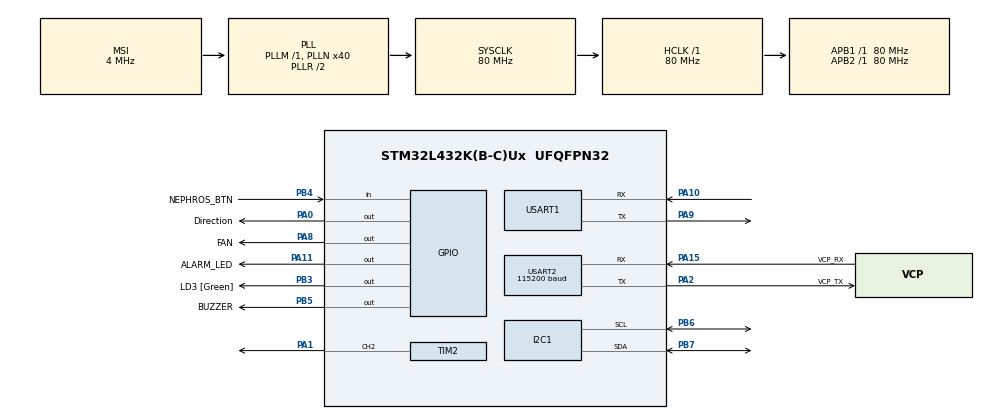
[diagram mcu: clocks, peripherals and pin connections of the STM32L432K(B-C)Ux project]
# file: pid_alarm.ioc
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Dma.Request0=USART1_RX
Dma.USART1_RX.0.Direction=DMA_PERIPH_TO_MEMORY
Dma.USART1_RX.0.Instance=DMA1_Channel5
Dma.USART1_RX.0.MemDataAlignment=DMA_MDATAALIGN_BYTE
Dma.USART1_RX.0.MemInc=DMA_MINC_ENABLE
Dma.USART1_RX.0.Mode=DMA_NORMAL
Dma.USART1_RX.0.PeriphDataAlignment=DMA_PDATAALIGN_BYTE
Dma.USART1_RX.0.PeriphInc=DMA_PINC_DISABLE
Dma.USART1_RX.0.Priority=DMA_PRIORITY_LOW
I2C1.Timing=0x10D19CE4
Mcu.Family=STM32L4
Mcu.Name=STM32L432K(B-C)Ux
Mcu.Package=UFQFPN32
NVIC.DMA1_Channel5_IRQn=true\:0\:0\:false\:false\:true\:false\:true\:true
NVIC.PriorityGroup=NVIC_PRIORITYGROUP_4
NVIC.USART1_IRQn=true\:0\:0\:false\:false\:true\:true\:true\:true
PA0.GPIO_Label=Direction
PA0.Signal=GPIO_Output
PA1.Signal=S_TIM2_CH2
PA10.Mode=Asynchronous
PA10.Signal=USART1_RX
PA11.GPIO_Label=ALARM_LED
PA11.Signal=GPIO_Output
PA13\ (JTMS-SWDIO).GPIO_Label=SWDIO
PA13\ (JTMS-SWDIO).Mode=Serial_Wire
PA13\ (JTMS-SWDIO).Signal=SYS_JTMS-SWDIO
PA14\ (JTCK-SWCLK).GPIO_Label=SWCLK
PA14\ (JTCK-SWCLK).Mode=Serial_Wire
PA14\ (JTCK-SWCLK).Signal=SYS_JTCK-SWCLK
PA15\ (JTDI).GPIO_Label=VCP_RX
PA15\ (JTDI).Mode=Asynchronous
PA15\ (JTDI).Signal=USART2_RX
PA2.GPIO_Label=VCP_TX
PA2.Mode=Asynchronous
PA2.Signal=USART2_TX
PA5.Signal=SPI1_SCK
PA7.Signal=SPI1_MOSI
PA8.GPIO_Label=FAN
PA8.Signal=GPIO_Output
PA9.Mode=Asynchronous
PA9.Signal=USART1_TX
PB3\ (JTDO-TRACESWO).GPIO_Label=LD3 [Green]
PB3\ (JTDO-TRACESWO).Signal=GPIO_Output
PB4\ (NJTRST).GPIO_Label=NEPHROS_BTN
PB4\ (NJTRST).GPIO_PuPd=GPIO_PULLUP
PB4\ (NJTRST).Signal=GPIO_Input
PB5.GPIO_Label=BUZZER
PB5.Signal=GPIO_Output
PB6.Mode=I2C
PB6.Signal=I2C1_SCL
PB7.Mode=I2C
PB7.Signal=I2C1_SDA
PC14-OSC32_IN\ (PC14).Mode=LSE-External-Oscillator
PC14-OSC32_IN\ (PC14).Signal=RCC_OSC32_IN
PC15-OSC32_OUT\ (PC15).Mode=LSE-External-Oscillator
PC15-OSC32_OUT\ (PC15).Signal=RCC_OSC32_OUT
ProjectManager.HeapSize=0x200
ProjectManager.StackSize=0x400
ProjectManager.TargetToolchain=STM32CubeIDE
RCC.ADCFreq_Value=32000000
RCC.AHBFreq_Value=80000000
RCC.APB1Freq_Value=80000000
RCC.APB1TimFreq_Value=80000000
RCC.APB2Freq_Value=80000000
RCC.APB2TimFreq_Value=80000000
RCC.CortexFreq_Value=80000000
RCC.HCLKFreq_Value=80000000
RCC.HSE_VALUE=8000000
RCC.HSI16_VALUE=16000000
RCC.HSI48_VALUE=48000000
RCC.HSI_VALUE=16000000
RCC.MSI_VALUE=4000000
RCC.PLLMUL=RCC_PLLMUL_4
RCC.PLLN=40
RCC.PLLSAI1N=16
RCC.SYSCLKFreq_VALUE=80000000
RCC.SYSCLKSource=RCC_SYSCLKSOURCE_PLLCLK
RCC.USBFreq_Value=32000000
RCC.VCOOutputFreq_Value=160000000
SH.S_TIM2_CH2.0=TIM2_CH2,PWM Generation2 CH2
TIM1.Prescaler=72-1
TIM2.Channel-PWM\ Generation2\ CH2=TIM_CHANNEL_2
TIM2.Period=1000000-1
TIM2.Prescaler=80-1
USART1.VirtualMode-Asynchronous=VM_ASYNC
USART2.BaudRate=115200
USART2.VirtualMode-Asynchronous=VM_ASYNC
VP_TIM1_VS_ClockSourceINT.Mode=Internal
board=NUCLEO-L432KC

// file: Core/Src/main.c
/* USER CODE BEGIN Header */
/**
  ******************************************************************************
  * @file           : main.c
  * @brief          : Main program body
  ******************************************************************************
  * @attention
  *
  * Copyright (c) 2026 STMicroelectronics.
  * All rights reserved.
  *
  * This software is licensed under terms that can be found in the LICENSE file
  * in the root directory of this software component.
  * If no LICENSE file comes with this software, it is provided AS-IS.
  *
  ******************************************************************************
  */
/* USER CODE END Header */
#include "main.h"
#include "dma.h"
#include "i2c.h"
#include "tim.h"
#include "usart.h"
#include "gpio.h"

/* USER CODE BEGIN Includes */
#include "PumpMotor.h"
#include "StateMachine.h"
#include "nephros_ui.h"
#include "nephros_safety.h"
#include "liquidcrystal_i2c.h"

#include <string.h>
#include <stdio.h>
#include <math.h>
#include <stdbool.h>
#include <stdlib.h>
#include <ctype.h>
#include <stdint.h>
#include <errno.h>
/* USER CODE END Includes */

/* USER CODE BEGIN PD */
#define RX_BUFFER_SIZE      512U    /* DMA buffer for one UART1 line (msg is ~90 chars) */
#define RX_TIMEOUT_MS       3000U   /* warn if no UART1 data for this long */
#define DEBUG_RX            1       /* 1 = print every received line + parse result */
/* USER CODE END PD */

/* USER CODE BEGIN PV */

static NephrosSensorData sensor_data =
{
    .temperature_c = 36.5f,
    .pressure = 150U,
    .air_detected = false,
    .flow_rate = 0.0f
};

static NephrosSetup setup_data;

/* TIMER VARIABLES */
uint32_t lastAlarmLCDCheck = 0;
static uint32_t end_message_hold_ms = 0U;
static bool lcd_message_active = false;
static bool pending_button_press = false;

/* RECEIVE UART1 VARIABLES */
extern DMA_HandleTypeDef hdma_usart1_rx;           /* defined in usart.c */
static uint8_t  rx_Buffer[RX_BUFFER_SIZE];         /* DMA writes here */
static uint8_t  main_Buffer[RX_BUFFER_SIZE + 1];   /* ISR copies finished line here */
static volatile uint16_t rx_len = 0;               /* length of line in main_Buffer */
static volatile uint8_t  data_ready_flag = 0;      /* set by ISR, cleared by main */
static uint32_t last_rx_ms = 0;                    /* time of last good line */
static uint32_t last_rx_warn_ms = 0;               /* rate-limit "no data" warning */
/* USER CODE END PV */

void SystemClock_Config(void);
/* USER CODE BEGIN PFP */
static void start_uart1_rx(void);
static void read_sensors(NephrosSensorData *sensor, uint32_t now_ms);
static bool find_value(const char *text, const char *key, float *out);
/* USER CODE END PFP */

int main(void)
{

  /* USER CODE BEGIN 1 */
  char startMessage[] =
      "Pump motor started. Listening for sensor data on UART1.\r\n";
  /* USER CODE END 1 */

  /* MCU Configuration--------------------------------------------------------*/

  /* Reset of all peripherals, Initializes the Flash interface and the Systick. */
  HAL_Init();

  /* Configure the system clock */
  SystemClock_Config();

  /* Initialize all configured peripherals */
  MX_GPIO_Init();
  MX_DMA_Init();
  MX_USART2_UART_Init();
  MX_I2C1_Init();
  MX_TIM1_Init();
  MX_TIM2_Init();
  MX_USART1_UART_Init();
  /* USER CODE BEGIN 2 */

  /* LCD + UART2 startup menu (password, volume, duration) */
  NephrosUI_Init();
  NephrosUI_ShowBoot();
  NephrosUI_ShowConsolePrompt();
  NephrosUI_RunStartupMenu(&setup_data);
  NephrosUI_ShowSetupComplete(&setup_data);

  /* Safety monitor logs through UART2 */
  NephrosSafety_Init(NephrosUI_Write);

  /* Motor starts at slow ARR, StartPump() ramps it up */
  MotorValuesInit();
  StartMotorPWM();

  HAL_UART_Transmit(&huart2, (uint8_t*)startMessage, strlen(startMessage), 100);

  /*
   * Start UART1 reception AFTER the menu.
   * start_uart1_rx() clears any overrun built up while we sat in the menu,
   * otherwise the first DMA start would abort immediately.
   */
  last_rx_ms = HAL_GetTick();
  start_uart1_rx();

  /* USER CODE END 2 */

  /* Infinite loop */
  /* USER CODE BEGIN WHILE */
  while (1)
  {
      uint32_t currentTick = HAL_GetTick();

      /* Check button every loop; used once in the 20 ms block */
      if (NephrosUI_ButtonPressed(currentTick))
      {
          pending_button_press = true;
      }

      /* Run safety/UI/motor logic every 20 ms */
      if (currentTick - lastAlarmLCDCheck >= 20U)
      {
          bool button_pressed;
          NephrosSafetyOutput safety_output;

          lastAlarmLCDCheck = currentTick;

          button_pressed = pending_button_press;
          pending_button_press = false;

          /* Update sensor_data from the latest UART1 line (if one arrived) */
          read_sensors(&sensor_data, currentTick);

          safety_output = NephrosSafety_Update(&sensor_data, button_pressed, currentTick);

          /* Emergency stop */
          if (safety_output.halted)
          {
              SetState(STATE_EMERGENCY_STOP);
          }

          /* Resume after a successful re-check */
          if (safety_output.resume_requested)
          {
              MotorValuesInit();
              StartMotorPWM();
              SetState(STATE_START_MOTOR_RAMP);
          }

          /* Motor state machine runs after the safety decision */
          RunStateMachine(currentTick, &sensor_data);

          /* LCD message handling */
          if (safety_output.lcd_message_valid)
          {
              NephrosUI_ShowMessage(safety_output.lcd_line1, safety_output.lcd_line2);
              lcd_message_active = true;
              end_message_hold_ms = currentTick + safety_output.message_hold_ms;
          }
          else if (lcd_message_active && currentTick >= end_message_hold_ms)
          {
              lcd_message_active = false;
              NephrosUI_ForceRedraw();
          }
          else if (!lcd_message_active)
          {
              if (safety_output.force_normal_lcd_redraw)
              {
                  NephrosUI_ForceRedraw();
              }

              if (safety_output.can_cycle_lcd_view)
              {
                  if (button_pressed)
                  {
                      NephrosUI_NextView();
                  }
                  static uint32_t lastLCDUpdate = 0U;

                  if (currentTick - lastLCDUpdate >= 200U)
                  {
                      lastLCDUpdate = currentTick;
                      NephrosUI_ShowNormalIfChanged(&sensor_data);
                  }
              }
          }
      }
    /* USER CODE END WHILE */

  }
}

void SystemClock_Config(void)
{
  RCC_OscInitTypeDef RCC_OscInitStruct = {0};
  RCC_ClkInitTypeDef RCC_ClkInitStruct = {0};

  /** Configure the main internal regulator output voltage
  */
  if (HAL_PWREx_ControlVoltageScaling(PWR_REGULATOR_VOLTAGE_SCALE1) != HAL_OK)
  {
    Error_Handler();
  }

  /** Configure LSE Drive Capability
  */
  HAL_PWR_EnableBkUpAccess();
  __HAL_RCC_LSEDRIVE_CONFIG(RCC_LSEDRIVE_LOW);

  /** Initializes the RCC Oscillators according to the specified parameters
  * in the RCC_OscInitTypeDef structure.
  */
  RCC_OscInitStruct.OscillatorType = RCC_OSCILLATORTYPE_LSE|RCC_OSCILLATORTYPE_MSI;
  RCC_OscInitStruct.LSEState = RCC_LSE_ON;
  RCC_OscInitStruct.MSIState = RCC_MSI_ON;
  RCC_OscInitStruct.MSICalibrationValue = 0;
  RCC_OscInitStruct.MSIClockRange = RCC_MSIRANGE_6;
  RCC_OscInitStruct.PLL.PLLState = RCC_PLL_ON;
  RCC_OscInitStruct.PLL.PLLSource = RCC_PLLSOURCE_MSI;
  RCC_OscInitStruct.PLL.PLLM = 1;
  RCC_OscInitStruct.PLL.PLLN = 40;
  RCC_OscInitStruct.PLL.PLLP = RCC_PLLP_DIV7;
  RCC_OscInitStruct.PLL.PLLQ = RCC_PLLQ_DIV2;
  RCC_OscInitStruct.PLL.PLLR = RCC_PLLR_DIV2;
  if (HAL_RCC_OscConfig(&RCC_OscInitStruct) != HAL_OK)
  {
    Error_Handler();
  }

  /** Initializes the CPU, AHB and APB buses clocks
  */
  RCC_ClkInitStruct.ClockType = RCC_CLOCKTYPE_HCLK|RCC_CLOCKTYPE_SYSCLK
                              |RCC_CLOCKTYPE_PCLK1|RCC_CLOCKTYPE_PCLK2;
  RCC_ClkInitStruct.SYSCLKSource = RCC_SYSCLKSOURCE_PLLCLK;
  RCC_ClkInitStruct.AHBCLKDivider = RCC_SYSCLK_DIV1;
  RCC_ClkInitStruct.APB1CLKDivider = RCC_HCLK_DIV1;
  RCC_ClkInitStruct.APB2CLKDivider = RCC_HCLK_DIV1;

  if (HAL_RCC_ClockConfig(&RCC_ClkInitStruct, FLASH_LATENCY_4) != HAL_OK)
  {
    Error_Handler();
  }

  /** Enable MSI Auto calibration
  */
  HAL_RCCEx_EnableMSIPLLMode();
}

/* USER CODE BEGIN 4 */

/*
 * Start (or restart) UART1 DMA reception cleanly.
 * Clears error flags + flushes the receive register first, so a stale
 * overrun from earlier can't instantly abort the new reception.
 */
static void start_uart1_rx(void)
{
    __HAL_UART_CLEAR_FLAG(&huart1, UART_CLEAR_OREF | UART_CLEAR_FEF |
                                   UART_CLEAR_NEF  | UART_CLEAR_PEF |
                                   UART_CLEAR_IDLEF);
    __HAL_UART_SEND_REQ(&huart1, UART_RXDATA_FLUSH_REQUEST);

    HAL_UARTEx_ReceiveToIdle_DMA(&huart1, rx_Buffer, RX_BUFFER_SIZE);

    /* Only want "line finished" events, not half-buffer events */
    __HAL_DMA_DISABLE_IT(&hdma_usart1_rx, DMA_IT_HT);
}

/*
 * Find "key" in text and read the number after it.
 * e.g. key "T1=" in "...T1=36.75, ..." -> 36.75
 * Returns false if the key is missing or no number follows it.
 */
static bool find_value(const char *text, const char *key, float *out)
{
    const char *p = strstr(text, key);
    char *end;
    float v;

    if (p == NULL)
    {
        return false;
    }

    p += strlen(key);
    v = strtof(p, &end);

    if (end == p || !isfinite(v))
    {
        return false;
    }

    *out = v;
    return true;
}

/*
 * Copy the latest UART1 line out of the ISR buffer and parse it.
 * Lenient: each field is searched for separately, so missing/extra
 * fields or odd spacing don't break anything. Only fields that are
 * found get updated; the rest keep their previous value.
 */
static void read_sensors(NephrosSensorData *sensor, uint32_t now_ms)
{
    char line[RX_BUFFER_SIZE + 1];
    const char *msg;
    uint16_t len;
    float v;
    int fields = 0;

    /* No new line: warn (rate limited) if data has gone quiet */
    if (!data_ready_flag)
    {
        if ((now_ms - last_rx_ms) >= RX_TIMEOUT_MS &&
            (now_ms - last_rx_warn_ms) >= RX_TIMEOUT_MS)
        {
            last_rx_warn_ms = now_ms;
            NephrosUI_Write("WARN: no UART1 data\r\n");
        }
        return;
    }

    /* Copy safely: stop the ISR overwriting main_Buffer mid-copy */
    __disable_irq();
    len = rx_len;
    if (len > RX_BUFFER_SIZE) len = RX_BUFFER_SIZE;
    memcpy(line, main_Buffer, len);
    data_ready_flag = 0;
    __enable_irq();
    line[len] = '\0';

    /* If several lines got merged, use the newest one (last '[') */
    msg = strrchr(line, '[');
    if (msg == NULL)
    {
        msg = line;
    }

    if (find_value(msg, "T1=", &v))
    {
        sensor->temperature_c = v;
        fields++;
    }

    if (find_value(msg, "Bubble=", &v))
    {
        sensor->air_detected = (v != 0.0%f);
        fields++;
    }

    if (find_value(msg, "P1=", &v))
    {
        if (v < 0.0f)     v = 0.0f;
        if (v > 65535.0f) v = 65535.0f;
        sensor->pressure = (uint16_t)v;
        fields++;
    }

    if (find_value(msg, "F2=", &v))
    {
        sensor->flow_rate = v;
        fields++;
    }

    if (fields > 0)
    {
        last_rx_ms = now_ms;
    }

#if DEBUG_RX
    {
        char dbg[48];
        NephrosUI_Write("RX: ");
        NephrosUI_Write(msg);
        if (len == 0 || line[len - 1] != '\n')
        {
            NephrosUI_Write("\r\n");
        }
        snprintf(dbg, sizeof(dbg), "  -> %d/4 fields updated\r\n", fields);
        NephrosUI_Write(dbg);
    }
#endif
}

/* UART1 line finished (line went idle): copy it out, flag main, restart DMA */
void HAL_UARTEx_RxEventCallback(UART_HandleTypeDef *huart, uint16_t Size)
{
    if (huart->Instance == USART1)
    {
        if (Size > RX_BUFFER_SIZE) Size = RX_BUFFER_SIZE;
        memcpy(main_Buffer, rx_Buffer, Size);
        main_Buffer[Size] = '\0';
        rx_len = Size;
        data_ready_flag = 1;

        start_uart1_rx();
    }
}

/* UART1 error (overrun/noise/framing): abort and restart so RX never dies */
void HAL_UART_ErrorCallback(UART_HandleTypeDef *huart)
{
    if (huart->Instance == USART1)
    {
        HAL_UART_AbortReceive(huart);
        start_uart1_rx();
    }
}

/* USER CODE END 4 */

void Error_Handler(void)
{
  __disable_irq();
  while (1)
  {
  }
}
